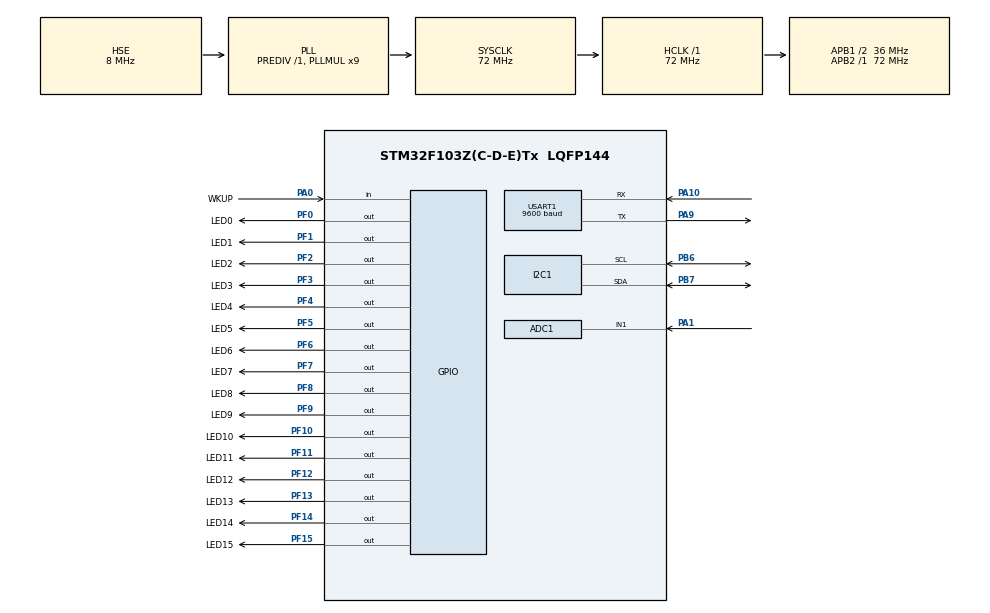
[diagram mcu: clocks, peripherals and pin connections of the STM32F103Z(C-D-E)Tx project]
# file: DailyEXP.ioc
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ADC1.Channel-0\#ChannelRegularConversion=ADC_CHANNEL_TEMPSENSOR
ADC1.Channel-1\#ChannelRegularConversion=ADC_CHANNEL_1
ADC1.ContinuousConvMode=ENABLE
ADC1.NbrOfConversion=2
ADC1.NbrOfConversionFlag=1
ADC1.Rank-0\#ChannelRegularConversion=1
ADC1.Rank-1\#ChannelRegularConversion=2
ADC1.SamplingTime-0\#ChannelRegularConversion=ADC_SAMPLETIME_71CYCLES_5
ADC1.SamplingTime-1\#ChannelRegularConversion=ADC_SAMPLETIME_71CYCLES_5
ADC1.master=1
Dma.ADC1.2.Direction=DMA_PERIPH_TO_MEMORY
Dma.ADC1.2.Instance=DMA1_Channel1
Dma.ADC1.2.MemDataAlignment=DMA_MDATAALIGN_HALFWORD
Dma.ADC1.2.MemInc=DMA_MINC_ENABLE
Dma.ADC1.2.Mode=DMA_CIRCULAR
Dma.ADC1.2.PeriphDataAlignment=DMA_PDATAALIGN_HALFWORD
Dma.ADC1.2.PeriphInc=DMA_PINC_DISABLE
Dma.ADC1.2.Priority=DMA_PRIORITY_LOW
Dma.Request0=USART1_RX
Dma.Request1=USART1_TX
Dma.Request2=ADC1
Dma.USART1_RX.0.Direction=DMA_PERIPH_TO_MEMORY
Dma.USART1_RX.0.Instance=DMA1_Channel5
Dma.USART1_RX.0.MemDataAlignment=DMA_MDATAALIGN_BYTE
Dma.USART1_RX.0.MemInc=DMA_MINC_ENABLE
Dma.USART1_RX.0.Mode=DMA_NORMAL
Dma.USART1_RX.0.PeriphDataAlignment=DMA_PDATAALIGN_BYTE
Dma.USART1_RX.0.PeriphInc=DMA_PINC_DISABLE
Dma.USART1_RX.0.Priority=DMA_PRIORITY_LOW
Dma.USART1_TX.1.Direction=DMA_MEMORY_TO_PERIPH
Dma.USART1_TX.1.Instance=DMA1_Channel4
Dma.USART1_TX.1.MemDataAlignment=DMA_MDATAALIGN_BYTE
Dma.USART1_TX.1.MemInc=DMA_MINC_ENABLE
Dma.USART1_TX.1.Mode=DMA_NORMAL
Dma.USART1_TX.1.PeriphDataAlignment=DMA_PDATAALIGN_BYTE
Dma.USART1_TX.1.PeriphInc=DMA_PINC_DISABLE
Dma.USART1_TX.1.Priority=DMA_PRIORITY_LOW
FREERTOS.Queues01=LightQueue,2,uint16_t,0,Dynamic,NULL,NULL;TempQueue,2,uint16_t,0,Dynamic,NULL,NULL;SwitchQueue,2,UartTxMsg_t,0,Dynamic,NULL,NULL;LightSwQueue,2,uint16_t,0,Dynamic,NULL,NULL
FREERTOS.Tasks01=BtnTask,40,128,StartBtnTask,Default,NULL,Dynamic,NULL,NULL;LEDTask,24,256,StartLEDTask,Default,NULL,Dynamic,NULL,NULL;UITask,24,384,StartUITask,Default,NULL,Dynamic,NULL,NULL;SettingTask,24,128,StartSettingTask,Default,NULL,Dynamic,NULL,NULL;UARTTask,32,512,StartUARTTask,Default,NULL,Dynamic,NULL,NULL;ADTask,24,512,StartADTask,Default,NULL,Dynamic,NULL,NULL;SwitchTask,24,256,StartSwitchTask,Default,NULL,Dynamic,NULL,NULL;TickTask,24,128,StartTickTask,Default,NULL,Dynamic,NULL,NULL
FREERTOS.configTOTAL_HEAP_SIZE=12800
I2C1.I2C_Mode=I2C_Fast
Mcu.Family=STM32F1
Mcu.Name=STM32F103Z(C-D-E)Tx
Mcu.Package=LQFP144
NVIC.DMA1_Channel1_IRQn=true\:5\:0\:false\:false\:true\:true\:false\:true\:true
NVIC.DMA1_Channel4_IRQn=true\:5\:0\:false\:false\:true\:true\:false\:true\:true
NVIC.DMA1_Channel5_IRQn=true\:5\:0\:false\:false\:true\:true\:false\:true\:true
NVIC.PriorityGroup=NVIC_PRIORITYGROUP_4
NVIC.TIM6_IRQn=true\:5\:0\:false\:false\:true\:true\:true\:true\:true
NVIC.TIM7_IRQn=true\:15\:0\:false\:false\:true\:false\:false\:true\:true
NVIC.TimeBase=TIM7_IRQn
NVIC.TimeBaseIP=TIM7
NVIC.USART1_IRQn=true\:5\:0\:false\:false\:true\:true\:false\:true\:true
OSC_IN.Mode=HSE-External-Oscillator
OSC_IN.Signal=RCC_OSC_IN
OSC_OUT.Mode=HSE-External-Oscillator
OSC_OUT.Signal=RCC_OSC_OUT
PA0-WKUP.GPIO_Label=WKUP
PA0-WKUP.Signal=GPIO_Input
PA1.Signal=ADCx_IN1
PA10.Mode=Asynchronous
PA10.Signal=USART1_RX
PA13.Mode=Serial_Wire
PA13.Signal=SYS_JTMS-SWDIO
PA14.Mode=Serial_Wire
PA14.Signal=SYS_JTCK-SWCLK
PA9.Mode=Asynchronous
PA9.Signal=USART1_TX
PB6.Mode=I2C
PB6.Signal=I2C1_SCL
PB7.Mode=I2C
PB7.Signal=I2C1_SDA
PF0.GPIO_Label=LED0
PF0.GPIO_ModeDefaultOutputPP=GPIO_MODE_OUTPUT_OD
PF0.GPIO_PuPd=GPIO_NOPULL
PF0.PinState=GPIO_PIN_SET
PF0.Signal=GPIO_Output
PF1.GPIO_Label=LED1
PF1.GPIO_ModeDefaultOutputPP=GPIO_MODE_OUTPUT_OD
PF1.GPIO_PuPd=GPIO_NOPULL
PF1.PinState=GPIO_PIN_SET
PF1.Signal=GPIO_Output
PF10.GPIO_Label=LED10
PF10.GPIO_ModeDefaultOutputPP=GPIO_MODE_OUTPUT_OD
PF10.GPIO_PuPd=GPIO_NOPULL
PF10.PinState=GPIO_PIN_SET
PF10.Signal=GPIO_Output
PF11.GPIO_Label=LED11
PF11.GPIO_ModeDefaultOutputPP=GPIO_MODE_OUTPUT_OD
PF11.GPIO_PuPd=GPIO_NOPULL
PF11.PinState=GPIO_PIN_SET
PF11.Signal=GPIO_Output
PF12.GPIO_Label=LED12
PF12.GPIO_ModeDefaultOutputPP=GPIO_MODE_OUTPUT_OD
PF12.GPIO_PuPd=GPIO_NOPULL
PF12.PinState=GPIO_PIN_SET
PF12.Signal=GPIO_Output
PF13.GPIO_Label=LED13
PF13.GPIO_ModeDefaultOutputPP=GPIO_MODE_OUTPUT_OD
PF13.GPIO_PuPd=GPIO_NOPULL
PF13.PinState=GPIO_PIN_SET
PF13.Signal=GPIO_Output
PF14.GPIO_Label=LED14
PF14.GPIO_ModeDefaultOutputPP=GPIO_MODE_OUTPUT_OD
PF14.GPIO_PuPd=GPIO_NOPULL
PF14.PinState=GPIO_PIN_SET
PF14.Signal=GPIO_Output
PF15.GPIO_Label=LED15
PF15.GPIO_ModeDefaultOutputPP=GPIO_MODE_OUTPUT_OD
PF15.GPIO_PuPd=GPIO_NOPULL
PF15.PinState=GPIO_PIN_SET
PF15.Signal=GPIO_Output
PF2.GPIO_Label=LED2
PF2.GPIO_ModeDefaultOutputPP=GPIO_MODE_OUTPUT_OD
PF2.GPIO_PuPd=GPIO_NOPULL
PF2.PinState=GPIO_PIN_SET
PF2.Signal=GPIO_Output
PF3.GPIO_Label=LED3
PF3.GPIO_ModeDefaultOutputPP=GPIO_MODE_OUTPUT_OD
PF3.GPIO_PuPd=GPIO_NOPULL
PF3.PinState=GPIO_PIN_SET
PF3.Signal=GPIO_Output
PF4.GPIO_Label=LED4
PF4.GPIO_ModeDefaultOutputPP=GPIO_MODE_OUTPUT_OD
PF4.GPIO_PuPd=GPIO_NOPULL
PF4.PinState=GPIO_PIN_SET
PF4.Signal=GPIO_Output
PF5.GPIO_Label=LED5
PF5.GPIO_ModeDefaultOutputPP=GPIO_MODE_OUTPUT_OD
PF5.GPIO_PuPd=GPIO_NOPULL
PF5.PinState=GPIO_PIN_SET
PF5.Signal=GPIO_Output
PF6.GPIO_Label=LED6
PF6.GPIO_ModeDefaultOutputPP=GPIO_MODE_OUTPUT_OD
PF6.GPIO_PuPd=GPIO_NOPULL
PF6.PinState=GPIO_PIN_SET
PF6.Signal=GPIO_Output
PF7.GPIO_Label=LED7
PF7.GPIO_ModeDefaultOutputPP=GPIO_MODE_OUTPUT_OD
PF7.GPIO_PuPd=GPIO_NOPULL
PF7.PinState=GPIO_PIN_SET
PF7.Signal=GPIO_Output
PF8.GPIO_Label=LED8
PF8.GPIO_ModeDefaultOutputPP=GPIO_MODE_OUTPUT_OD
PF8.GPIO_PuPd=GPIO_NOPULL
PF8.PinState=GPIO_PIN_SET
PF8.Signal=GPIO_Output
PF9.GPIO_Label=LED9
PF9.GPIO_ModeDefaultOutputPP=GPIO_MODE_OUTPUT_OD
PF9.GPIO_PuPd=GPIO_NOPULL
PF9.PinState=GPIO_PIN_SET
PF9.Signal=GPIO_Output
ProjectManager.HeapSize=0x200
ProjectManager.StackSize=0x400
ProjectManager.TargetToolchain=CMake
RCC.ADCPresc=RCC_ADCPCLK2_DIV6
RCC.AHBFreq_Value=72000000
RCC.APB1CLKDivider=RCC_HCLK_DIV2
RCC.APB1Freq_Value=36000000
RCC.APB1TimFreq_Value=72000000
RCC.APB2Freq_Value=72000000
RCC.APB2TimFreq_Value=72000000
RCC.HCLKFreq_Value=72000000
RCC.PLLMUL=RCC_PLL_MUL9
RCC.PLLSourceVirtual=RCC_PLLSOURCE_HSE
RCC.SYSCLKFreq_VALUE=72000000
RCC.SYSCLKSource=RCC_SYSCLKSOURCE_PLLCLK
RCC.USBFreq_Value=72000000
SH.ADCx_IN1.0=ADC1_IN1,IN1
TIM6.AutoReloadPreload=TIM_AUTORELOAD_PRELOAD_ENABLE
TIM6.Period=9999
TIM6.Prescaler=719
USART1.BaudRate=9600
USART1.VirtualMode=VM_ASYNC
VP_ADC1_TempSens_Input.Mode=IN-TempSens
VP_FREERTOS_VS_CMSIS_V2.Mode=CMSIS_V2
VP_SYS_VS_tim7.Mode=TIM7
VP_TIM6_VS_ClockSourceINT.Mode=Enable_Timer
board=custom

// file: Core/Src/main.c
/* USER CODE BEGIN Header */
/**
 ******************************************************************************
 * @file           : main.c
 * @brief          : Main program body
 ******************************************************************************
 * @attention
 *
 * Copyright (c) 2026 STMicroelectronics.
 * All rights reserved.
 *
 * This software is licensed under terms that can be found in the LICENSE file
 * in the root directory of this software component.
 * If no LICENSE file comes with this software, it is provided AS-IS.
 *
 ******************************************************************************
 */
/* USER CODE END Header */
#include "main.h"
#include "cmsis_os.h"
#include "adc.h"
#include "dma.h"
#include "i2c.h"
#include "tim.h"
#include "usart.h"
#include "gpio.h"

/* USER CODE BEGIN Includes */
#include "btn.h"
/* USER CODE END Includes */

/* USER CODE BEGIN PV */
uint8_t led_flow_counter = 0;    // 流水灯计数器，范围0-15，根据实验状态循环递增
uint16_t TimerBinaryCounter = 0; // 定时器二进制计数器，范围0-65535，每次定时器中断递增
uint16_t tickCounter = 0;        // 滴答定时器计数值
volatile uint16_t
  adcValue[2]; // 存放ADC值，adcValue[0]为温度传感器的采样值，adcValue[1]为光敏传感器的采样值

/* USER CODE END PV */

void SystemClock_Config(void);
void MX_FREERTOS_Init(void);

/* USER CODE BEGIN 0 */
EXP_STATE expState = EXP1;
MODE mode = NORMAL_MODE;
DISPLAY_TYPE DisplayType = DISPLAY_COUNT;
/* USER CODE END 0 */

int main(void)
{

  /* MCU Configuration--------------------------------------------------------*/

  /* Reset of all peripherals, Initializes the Flash interface and the Systick. */
  HAL_Init();

  /* Configure the system clock */
  SystemClock_Config();

  /* Initialize all configured peripherals */
  MX_GPIO_Init();
  MX_DMA_Init();
  MX_I2C1_Init();
  MX_TIM6_Init();
  MX_USART1_UART_Init();
  MX_ADC1_Init();
  /* USER CODE BEGIN 2 */
    Btn_Init();

    // 启动定时器6，产生周期性中断用于流水灯硬件延时
    HAL_TIM_Base_Start_IT(&htim6);

    // 启动ADC DMA，连续采集光敏传感器和温度传感器的模拟值
    HAL_ADC_Start_DMA(&hadc1, (uint32_t *)adcValue, 2);

  /* USER CODE END 2 */

  /* Init scheduler */
  osKernelInitialize();  /* Call init function for freertos objects (in cmsis_os2.c) */
  MX_FREERTOS_Init();

  /* Start scheduler */
  osKernelStart();

  /* We should never get here as control is now taken by the scheduler */

  /* Infinite loop */
    while(1)
    {

    }
}

void SystemClock_Config(void)
{
  RCC_OscInitTypeDef RCC_OscInitStruct = {0};
  RCC_ClkInitTypeDef RCC_ClkInitStruct = {0};
  RCC_PeriphCLKInitTypeDef PeriphClkInit = {0};

  /** Initializes the RCC Oscillators according to the specified parameters
  * in the RCC_OscInitTypeDef structure.
  */
  RCC_OscInitStruct.OscillatorType = RCC_OSCILLATORTYPE_HSE;
  RCC_OscInitStruct.HSEState = RCC_HSE_ON;
  RCC_OscInitStruct.HSEPredivValue = RCC_HSE_PREDIV_DIV1;
  RCC_OscInitStruct.HSIState = RCC_HSI_ON;
  RCC_OscInitStruct.PLL.PLLState = RCC_PLL_ON;
  RCC_OscInitStruct.PLL.PLLSource = RCC_PLLSOURCE_HSE;
  RCC_OscInitStruct.PLL.PLLMUL = RCC_PLL_MUL9;
  if (HAL_RCC_OscConfig(&RCC_OscInitStruct) != HAL_OK)
  {
    Error_Handler();
  }

  /** Initializes the CPU, AHB and APB buses clocks
  */
  RCC_ClkInitStruct.ClockType = RCC_CLOCKTYPE_HCLK|RCC_CLOCKTYPE_SYSCLK
                              |RCC_CLOCKTYPE_PCLK1|RCC_CLOCKTYPE_PCLK2;
  RCC_ClkInitStruct.SYSCLKSource = RCC_SYSCLKSOURCE_PLLCLK;
  RCC_ClkInitStruct.AHBCLKDivider = RCC_SYSCLK_DIV1;
  RCC_ClkInitStruct.APB1CLKDivider = RCC_HCLK_DIV2;
  RCC_ClkInitStruct.APB2CLKDivider = RCC_HCLK_DIV1;

  if (HAL_RCC_ClockConfig(&RCC_ClkInitStruct, FLASH_LATENCY_2) != HAL_OK)
  {
    Error_Handler();
  }
  PeriphClkInit.PeriphClockSelection = RCC_PERIPHCLK_ADC;
  PeriphClkInit.AdcClockSelection = RCC_ADCPCLK2_DIV6;
  if (HAL_RCCEx_PeriphCLKConfig(&PeriphClkInit) != HAL_OK)
  {
    Error_Handler();
  }
}

void HAL_TIM_PeriodElapsedCallback(TIM_HandleTypeDef *htim)
{
  /* USER CODE BEGIN Callback 0 */
    // 定时器6中断回调函数，用于流水灯硬件延时
    if(htim->Instance == TIM6)
    {
        if(mode == NORMAL_MODE && expState == EXP2)
        {
            led_flow_counter = (led_flow_counter + 1) % 16; // 循环递增，范围0-15
        }
        if(mode == NORMAL_MODE && (expState == EXP4 || expState == EXP5 || expState == EXP8))
        {
            TimerBinaryCounter++; // 定时器二进制计数器递增
        }
    }
  /* USER CODE END Callback 0 */
  if (htim->Instance == TIM7)
  {
    HAL_IncTick();
  }
}

void Error_Handler(void)
{
    __disable_irq();
    while(1)
    {
    }
}

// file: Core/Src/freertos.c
/* USER CODE BEGIN Header */
/**
 ******************************************************************************
 * File Name          : freertos.c
 * Description        : Code for freertos applications
 ******************************************************************************
 * @attention
 *
 * Copyright (c) 2026 STMicroelectronics.
 * All rights reserved.
 *
 * This software is licensed under terms that can be found in the LICENSE file
 * in the root directory of this software component.
 * If no LICENSE file comes with this software, it is provided AS-IS.
 *
 ******************************************************************************
 */
/* USER CODE END Header */

#include "FreeRTOS.h"
#include "task.h"
#include "main.h"
#include "cmsis_os.h"

/* USER CODE BEGIN Includes */
#include "btn.h"
#include "display_msg.h"
#include "led.h"
#include "oled.h"
#include "usart.h"
#include <stdint.h>
#include <stdio.h>
#include <string.h>
#include <sys/_intsup.h>

/* USER CODE END Includes */

/* USER CODE BEGIN PD */
#define BTN_DEBOUNCE_DELAY 40    // 消抖延时，单位为ms
#define BTN_LONG_PRESS_DELAY 500 // 长按判定时间，单位为ms
/* USER CODE END PD */

/* Definitions for BtnTask */
osThreadId_t BtnTaskHandle;
const osThreadAttr_t BtnTask_attributes = {
  .name = "BtnTask",
  .stack_size = 128 * 4,
  .priority = (osPriority_t) osPriorityHigh,
};
/* Definitions for LEDTask */
osThreadId_t LEDTaskHandle;
const osThreadAttr_t LEDTask_attributes = {
  .name = "LEDTask",
  .stack_size = 256 * 4,
  .priority = (osPriority_t) osPriorityNormal,
};
/* Definitions for UITask */
osThreadId_t UITaskHandle;
const osThreadAttr_t UITask_attributes = {
  .name = "UITask",
  .stack_size = 384 * 4,
  .priority = (osPriority_t) osPriorityNormal,
};
/* Definitions for SettingTask */
osThreadId_t SettingTaskHandle;
const osThreadAttr_t SettingTask_attributes = {
  .name = "SettingTask",
  .stack_size = 128 * 4,
  .priority = (osPriority_t) osPriorityNormal,
};
/* Definitions for UARTTask */
osThreadId_t UARTTaskHandle;
const osThreadAttr_t UARTTask_attributes = {
  .name = "UARTTask",
  .stack_size = 512 * 4,
  .priority = (osPriority_t) osPriorityAboveNormal,
};
/* Definitions for ADTask */
osThreadId_t ADTaskHandle;
const osThreadAttr_t ADTask_attributes = {
  .name = "ADTask",
  .stack_size = 512 * 4,
  .priority = (osPriority_t) osPriorityNormal,
};
/* Definitions for SwitchTask */
osThreadId_t SwitchTaskHandle;
const osThreadAttr_t SwitchTask_attributes = {
  .name = "SwitchTask",
  .stack_size = 256 * 4,
  .priority = (osPriority_t) osPriorityNormal,
};
/* Definitions for TickTask */
osThreadId_t TickTaskHandle;
const osThreadAttr_t TickTask_attributes = {
  .name = "TickTask",
  .stack_size = 128 * 4,
  .priority = (osPriority_t) osPriorityNormal,
};
/* Definitions for LightQueue */
osMessageQueueId_t LightQueueHandle;
const osMessageQueueAttr_t LightQueue_attributes = {
  .name = "LightQueue"
};
/* Definitions for TempQueue */
osMessageQueueId_t TempQueueHandle;
const osMessageQueueAttr_t TempQueue_attributes = {
  .name = "TempQueue"
};
/* Definitions for SwitchQueue */
osMessageQueueId_t SwitchQueueHandle;
const osMessageQueueAttr_t SwitchQueue_attributes = {
  .name = "SwitchQueue"
};
/* Definitions for LightSwQueue */
osMessageQueueId_t LightSwQueueHandle;
const osMessageQueueAttr_t LightSwQueue_attributes = {
  .name = "LightSwQueue"
};

void StartBtnTask(void *argument);
void StartLEDTask(void *argument);
void StartUITask(void *argument);
void StartSettingTask(void *argument);
void StartUARTTask(void *argument);
void StartADTask(void *argument);
void StartSwitchTask(void *argument);
void StartTickTask(void *argument);

void MX_FREERTOS_Init(void); /* (MISRA C 2004 rule 8.1) */

void MX_FREERTOS_Init(void) {

  /* Create the queue(s) */
  /* creation of LightQueue */
  LightQueueHandle = osMessageQueueNew (2, sizeof(uint16_t), &LightQueue_attributes);

  /* creation of TempQueue */
  TempQueueHandle = osMessageQueueNew (2, sizeof(uint16_t), &TempQueue_attributes);

  /* creation of SwitchQueue */
  SwitchQueueHandle = osMessageQueueNew (2, sizeof(UartTxMsg_t), &SwitchQueue_attributes);

  /* creation of LightSwQueue */
  LightSwQueueHandle = osMessageQueueNew (2, sizeof(uint16_t), &LightSwQueue_attributes);

  /* Create the thread(s) */
  /* creation of BtnTask */
  BtnTaskHandle = osThreadNew(StartBtnTask, NULL, &BtnTask_attributes);

  /* creation of LEDTask */
  LEDTaskHandle = osThreadNew(StartLEDTask, NULL, &LEDTask_attributes);

  /* creation of UITask */
  UITaskHandle = osThreadNew(StartUITask, NULL, &UITask_attributes);

  /* creation of SettingTask */
  SettingTaskHandle = osThreadNew(StartSettingTask, NULL, &SettingTask_attributes);

  /* creation of UARTTask */
  UARTTaskHandle = osThreadNew(StartUARTTask, NULL, &UARTTask_attributes);

  /* creation of ADTask */
  ADTaskHandle = osThreadNew(StartADTask, NULL, &ADTask_attributes);

  /* creation of SwitchTask */
  SwitchTaskHandle = osThreadNew(StartSwitchTask, NULL, &SwitchTask_attributes);

  /* creation of TickTask */
  TickTaskHandle = osThreadNew(StartTickTask, NULL, &TickTask_attributes);

}

void StartBtnTask(void *argument)
{
  /* USER CODE BEGIN StartBtnTask */

    uint32_t btnPressCounter; // 按键按下计数器
    uint8_t debounceCounter;  // 消抖计数器s

    /* Infinite loop */
    for(;;)
    {
        // 读取按键状态
        uint8_t btnPressed = HAL_GPIO_ReadPin(WKUP_GPIO_Port, WKUP_Pin) == GPIO_PIN_RESET;
        switch(btnState)
        {
            case BTN_STATE_IDLE:
                if(btnPressed)
                {
                    btnState = BTN_STATE_DEBOUNCE;
                    debounceCounter = 0;
                }
                break;

            case BTN_STATE_DEBOUNCE:
                if(btnPressed)
                {
                    debounceCounter++;
                    if(debounceCounter >= BTN_DEBOUNCE_DELAY / 20)
                    { // 每20ms检查一次
                        btnState = BTN_STATE_PRESSED;
                        btnPressCounter = 0;
                    }
                }
                else
                {
                    btnState = BTN_STATE_IDLE; // 按键抖动，回到空闲状态
                }
                break;

            case BTN_STATE_PRESSED:
                if(btnPressed)
                {
                    btnPressCounter++;
                    if(btnPressCounter >= BTN_LONG_PRESS_DELAY / 20)
                    {
                        btnEvent = BTN_EVENT_LONG_PRESS;   // 长按事件
                        btnState = BTN_STATE_WAIT_RELEASE; // 等待释放
                    }
                }
                else
                {
                    btnEvent = BTN_EVENT_CLICK; // 点击事件
                    btnState = BTN_STATE_IDLE;  // 回到空闲状态
                }
                break;

            case BTN_STATE_WAIT_RELEASE:
                if(!btnPressed)
                {
                    btnState = BTN_STATE_IDLE; // 按键释放，回到空闲状态
                }
                break;
        }
        osDelay(20);
    }
  /* USER CODE END StartBtnTask */
}

void StartLEDTask(void *argument)
{
  /* USER CODE BEGIN StartLEDTask */
    /* Infinite loop */
    for(;;)
    {
        // 实验一，软件流水灯
        if(mode == NORMAL_MODE && expState == EXP1)
        {
            LED_Flow(led_flow_counter % 16);
            led_flow_counter++;

            // 软件延时
            for(volatile uint32_t i = 0; i < 500000; i++)
                ;
        }
        else if(mode == NORMAL_MODE && expState == EXP2)
        // 实验二，定时器流水灯，流水灯由定时器中断控制，主循环中无需执行点亮函数，只需根据计数器更新LED状态
        {
            LED_Flow(led_flow_counter);
        }
        else if(expState == EXP3) // 实验三，按键加法器，结果以二进制形式显示在LED上
        {
            static uint16_t BtnBinaryCounter = 0;
            if(mode == NORMAL_MODE)
            {
                LED_Binary_Display(BtnBinaryCounter);
                // 按键实现二进制计数器加1
                if(btnEvent == BTN_EVENT_CLICK)
                {
                    BtnBinaryCounter++;
                    btnEvent = BTN_EVENT_NONE; // 清除事件
                }
            }
            else
            {
                // 清空计数器
                BtnBinaryCounter = 0;
            }
        }
        else if(expState == EXP4) // 实验四，定时器半秒计数，结果以二进制形式显示在LED上
        {
            if(mode == NORMAL_MODE)
            {
                LED_Binary_Display(TimerBinaryCounter /
                                   5); // 定时器每100ms产生一次中断，计数值除以5实现半秒计数
            }
            else
            {
                // 清空计数器
                TimerBinaryCounter = 0;
            }
        }

        // 进入设置模式时，关闭所有LED，准备下一次实验
        if(mode == SETTING_MODE)
        {
            LED_Turn_off_All();
        }

        osDelay(10);
    }
  /* USER CODE END StartLEDTask */
}

void StartUITask(void *argument)
{
  /* USER CODE BEGIN StartUITask */
    // 初始化OLED显示
    osDelay(20);
    OLED_Init();

    // 光标闪烁计数
    uint8_t cursorBlinkCounter = 0;

    // 开屏图片显示3秒
    OLED_NewFrame();
    OLED_DrawImage(38, 8, &bilibiliImg, OLED_COLOR_NORMAL);
    OLED_ShowFrame();
    osDelay(2000);

    /* Infinite loop */
    for(;;)
    {
        // 显示
        OLED_NewFrame();

        char str_exp[16];
        snprintf(str_exp, sizeof(str_exp), "Exp: %2d", expState + 1);

        OLED_PrintASCIIString(0, 0, str_exp, &afont16x8, OLED_COLOR_NORMAL);

        // 若处于设置模式，则显示闪烁的光标
        if(mode == SETTING_MODE)
        {
            cursorBlinkCounter = (cursorBlinkCounter + 1) % 8; // 每8次循环切换一次状态
            if(cursorBlinkCounter < 4)
            {
                OLED_DrawLine(0, 18, 56, 18, OLED_COLOR_NORMAL); // 绘制光标
            }
        }
        else
        {
            cursorBlinkCounter =
              0; // 非设置模式时重置计数器，确保进入设置模式时光标从可见状态开始闪烁
        }

        // 若当前实验需要切换显示，则根据实验状态显示对应信息
        if(mode == NORMAL_MODE && (expState >= EXP8 && expState <= EXP10))
        {
            // 显示串口发送类型
            char str_uart[16];
            char str_count_light[8];
            if(DisplayType == DISPLAY_COUNT)
            {
                if(expState == EXP8 || expState == EXP10)
                {
                    snprintf(str_uart, sizeof(str_uart), "HostDisplay:");
                    OLED_PrintASCIIString(0, 26, str_uart, &afont16x8, OLED_COLOR_NORMAL);
                    snprintf(str_count_light, sizeof(str_count_light), "Count");
                    OLED_PrintASCIIString(0, 42, str_count_light, &afont16x8, OLED_COLOR_NORMAL);
                }
                else if(expState == EXP9)
                {
                    // 实验九为LED和上位机切换显示计数值
                    snprintf(str_uart, sizeof(str_uart), "LedDisplay:");
                    OLED_PrintASCIIString(0, 26, str_uart, &afont16x8, OLED_COLOR_NORMAL);
                    snprintf(str_count_light, sizeof(str_count_light), "Count");
                    OLED_PrintASCIIString(0, 42, str_count_light, &afont16x8, OLED_COLOR_NORMAL);
                }
            }
            else if(DisplayType == DISPLAY_LIGHT)
            {
                if(expState == EXP10)
                {
                    snprintf(str_uart, sizeof(str_uart), "HostDisplay:");
                    OLED_PrintASCIIString(0, 26, str_uart, &afont16x8, OLED_COLOR_NORMAL);
                    snprintf(str_count_light, sizeof(str_count_light), "Light");
                    OLED_PrintASCIIString(0, 42, str_count_light, &afont16x8, OLED_COLOR_NORMAL);
                }
                else if(expState == EXP8)
                {
                    // 实验八为LED和上位机切换显示计数值，此处借用DISPLAY_LIGHT状态
                    snprintf(str_uart, sizeof(str_uart), "LedDisplay:");
                    OLED_PrintASCIIString(0, 26, str_uart, &afont16x8, OLED_COLOR_NORMAL);
                    snprintf(str_count_light, sizeof(str_count_light), "Count");
                    OLED_PrintASCIIString(0, 42, str_count_light, &afont16x8, OLED_COLOR_NORMAL);
                }
                else if(expState == EXP9)
                {
                    // 实验九为LED和上位机切换显示计数值
                    snprintf(str_uart, sizeof(str_uart), "LedDisplay:");
                    OLED_PrintASCIIString(0, 26, str_uart, &afont16x8, OLED_COLOR_NORMAL);
                    snprintf(str_count_light, sizeof(str_count_light), "Light");
                    OLED_PrintASCIIString(0, 42, str_count_light, &afont16x8, OLED_COLOR_NORMAL);
                }
            }
        }
        else if(mode == NORMAL_MODE && (expState >= EXP1 && expState <= EXP4))
        {
            char str_led[16];
            snprintf(str_led, sizeof(str_led), "LedDisplay");
            OLED_PrintASCIIString(0, 26, str_led, &afont16x8, OLED_COLOR_NORMAL);
        }
        else if(mode == NORMAL_MODE && (expState >= EXP5 && expState <= EXP7))
        {
            char str_uart[16];
            snprintf(str_uart, sizeof(str_uart), "HostDisplay");
            OLED_PrintASCIIString(0, 26, str_uart, &afont16x8, OLED_COLOR_NORMAL);
        }
        else if(mode == NORMAL_MODE && expState == EXP11)
        {
            char str_both[16];
            snprintf(str_both, sizeof(str_both), "BothDisplay");
            OLED_PrintASCIIString(0, 26, str_both, &afont16x8, OLED_COLOR_NORMAL);
        }

        OLED_ShowFrame();

        osDelay(100);
    }
  /* USER CODE END StartUITask */
}

void StartSettingTask(void *argument)
{
  /* USER CODE BEGIN StartSettingTask */
    /* Infinite loop */
    for(;;)
    {
        // 根据按键事件切换实验状态，点击切换到下一个实验，长按进入设置模式
        if(btnEvent == BTN_EVENT_CLICK && mode == SETTING_MODE)
        {
            expState = (expState + 1) % 11; // 循环切换实验状态
            btnEvent = BTN_EVENT_NONE;      // 清除事件
        }
        else if(btnEvent == BTN_EVENT_LONG_PRESS)
        {
            mode = (mode == NORMAL_MODE) ? SETTING_MODE : NORMAL_MODE; // 切换模式
            btnEvent = BTN_EVENT_NONE;                                 // 清除事件
        }
        else
        {
            // 正常模式下根据实验状态执行对应功能，若当前实验不需要按键操作，则清除按键事件，避免干扰其他实验
            if(mode == NORMAL_MODE)
            {
                switch(expState)
                {
                    case EXP1:
                        // 实验1功能
                        btnEvent = BTN_EVENT_NONE;
                        break;
                    case EXP2:
                        // 实验2功能
                        btnEvent = BTN_EVENT_NONE;
                        break;
                    case EXP3:
                        // 实验3功能
                        break;
                    case EXP4:
                        // 实验4功能
                        btnEvent = BTN_EVENT_NONE;
                        break;
                    case EXP5:
                        // 实验5功能
                        btnEvent = BTN_EVENT_NONE;
                        break;
                    case EXP6:
                        // 实验6功能
                        btnEvent = BTN_EVENT_NONE;
                        break;
                    case EXP7:
                        // 实验7功能
                        btnEvent = BTN_EVENT_NONE;
                        break;
                    case EXP8:
                        // 实验8功能
                        break;
                    case EXP9:
                        // 实验9功能
                        break;
                    case EXP10:
                        // 实验10功能
                        break;
                    case EXP11:
                        // 实验11功能
                        btnEvent = BTN_EVENT_NONE;
                        break;
                }
            }
        }
        osDelay(10);
    }
  /* USER CODE END StartSettingTask */
}

void StartUARTTask(void *argument)
{
  /* USER CODE BEGIN StartUARTTask */
    char countBuffer[16];        // 计数值字符串缓冲区
    char lightBuffer[16];        // 光照平均值字符串缓冲区
    uint16_t lightFilteredValue; // 从消息队列LightQueue接收光照平均值
    char tempBuffer[16];         // 温度滤波值字符串缓冲区
    uint16_t tempFilteredValue;  // 从消息队列TempQueue接收温度平均值
    uint16_t currentCounter = 0; // 定时器当前计数值，用于判断是否需要发送更新

    UartTxMsg_t switchMsg; // 从消息队列SwitchQueue接收的消息结构体
    /* Infinite loop */
    for(;;)
    {
        if(expState == EXP5) // 实验五，定时器半秒计数，通过UART发送计数值
        {
            if(mode == NORMAL_MODE)
            {
                // 只有当计数值发生变化时才发送，避免重复发送相同的值
                if(TimerBinaryCounter / 5 != currentCounter)
                {
                    currentCounter = TimerBinaryCounter / 5;
                    snprintf(countBuffer, sizeof(countBuffer), "Count: %d", TimerBinaryCounter / 5);

                    if(HAL_UART_GetState(&huart1) == HAL_UART_STATE_READY)
                    {
                        HAL_UART_Transmit_DMA(&huart1, (uint8_t *)countBuffer, strlen(countBuffer));
                    }
                }
            }
            else
            {
                // 设置模式下清空计数值，准备下一次实验
                TimerBinaryCounter = 0;
                currentCounter = 0;
            }
        }

        // 实验六，UART接收光照平均值，计算电压并通过UART发送
        // 接收消息队列中的光照平均值，无需等待，如果没有新数据则继续循环
        if(osMessageQueueGet(LightQueueHandle, &lightFilteredValue, 0, 0) == osOK)
        {
            // 将12位ADC值转换为电压值并发送
            snprintf(
              lightBuffer, sizeof(lightBuffer), "Light: %3.2fV", lightFilteredValue * 3.3 / 4095);

            if(HAL_UART_GetState(&huart1) == HAL_UART_STATE_READY)
            {
                HAL_UART_Transmit_DMA(&huart1, (uint8_t *)lightBuffer, strlen(lightBuffer));
                osDelay(500); // 发送后短暂延时，避免发送过快导致数据混乱
            }
        }

        // 实验七，UART接收温度滤波值，计算电压并通过UART发送
        // 接收消息队列中的温度滤波值，无需等待，如果没有新数据则继续循环
        if(osMessageQueueGet(TempQueueHandle, &tempFilteredValue, 0, 0) == osOK)
        {
            // 计算电压并发送
            snprintf(
              tempBuffer, sizeof(tempBuffer), "Temp: %3.2fV", tempFilteredValue * 3.3 / 4095);
            if(HAL_UART_GetState(&huart1) == HAL_UART_STATE_READY)
            {
                HAL_UART_Transmit_DMA(&huart1, (uint8_t *)tempBuffer, strlen(tempBuffer));
                osDelay(500); // 发送后短暂延时，避免发送过快导致数据混乱
            }
        }

        // 实验八，UART接收计数值，通过UART发送
        if(osMessageQueueGet(SwitchQueueHandle, &switchMsg, 0, 0) == osOK)
        {
            if(DisplayType == DISPLAY_COUNT)
            {
                snprintf(countBuffer, sizeof(countBuffer), "Count: %d", switchMsg.countValue);
                if(HAL_UART_GetState(&huart1) == HAL_UART_STATE_READY)
                {
                    HAL_UART_Transmit_DMA(&huart1, (uint8_t *)countBuffer, strlen(countBuffer));
                }
            }
            else if(DisplayType == DISPLAY_LIGHT)
            {
                snprintf(lightBuffer,
                         sizeof(lightBuffer),
                         "Light: %3.2fV",
                         switchMsg.lightValue * 3.3 / 4095);
                if(HAL_UART_GetState(&huart1) == HAL_UART_STATE_READY)
                {
                    HAL_UART_Transmit_DMA(&huart1, (uint8_t *)lightBuffer, strlen(lightBuffer));
                }
            }
        }

        osDelay(50);
    }
  /* USER CODE END StartUARTTask */
}

void StartADTask(void *argument)
{
  /* USER CODE BEGIN StartADTask */
    uint16_t lightValue[10];       // 存储光敏传感器10次的采样值
    uint16_t lightValueSorted[10]; // 存储排序后的光敏传感器采样值
    uint32_t lightSum = 0;         // 光敏传感器采样值的累加和，用于计算平均值
    uint16_t lightFilteredValue;   // 光敏传感器滤波后的值
    uint16_t tempValue[10];        // 存储温度传感器10次的采样值
    uint16_t tempValueSorted[10];  // 存储排序后的温度传感器采样值
    uint32_t tempSum = 0;          // 温度传感器采样值的累加和，用于计算平均值
    uint16_t tempFilteredValue;    // 温度传感器滤波后的值

    /* Infinite loop */
    for(;;)
    {
        if(expState == EXP6 || expState == EXP9 || expState == EXP10 || expState == EXP11)
        // 实验六，ADC采集光敏传感器的模拟值，转换结果采用二级数字滤波法（10次采样的结果排序、取中间的6个数的平均值），并将滤波后的转换结果通过消息队列发送给UARTTask
        {
            if(mode == NORMAL_MODE)
            {
                // 采集值已经通过DMA存储在adcValue数组中，adcValue[1]为光敏传感器的采样值，adcValue[0]为温度传感器的采样值

                // 将之前的采样值向后移动
                memmove(&lightValue[1], &lightValue[0], sizeof(uint16_t) * 9);

                // 将采样值放入lightValue数组的第一个位置
                lightValue[0] = adcValue[1];

                // 将采样值放入lightValueSorted数组，准备排序
                memcpy(lightValueSorted, lightValue, sizeof(lightValue));

                // 冒泡排序
                for(int i = 0; i < 9; i++)
                {
                    for(int j = 0; j < 9 - i; j++)
                    {
                        if(lightValueSorted[j] > lightValueSorted[j + 1])
                        {
                            uint16_t temp = lightValueSorted[j];
                            lightValueSorted[j] = lightValueSorted[j + 1];
                            lightValueSorted[j + 1] = temp;
                        }
                    }
                }

                // 取排序后中间的6个数的平均值，并通过消息队列发送给UARTTask
                lightSum = 0;
                for(int i = 2; i < 8; i++)
                {
                    lightSum += lightValueSorted[i];
                }

                lightFilteredValue = lightSum / 6; // 计算平均值
                if(expState == EXP6)
                {
                    // 发送平均值到LightQueue
                    osMessageQueuePut(LightQueueHandle, &lightFilteredValue, 0, 0);
                }
                else if(expState == EXP9 || expState == EXP10 || expState == EXP11)
                {
                    // 发送平均值到LightSwQueue
                    osMessageQueuePut(LightSwQueueHandle, &lightFilteredValue, 0, 0);
                }
            }
            else
            {
                // 实验六设置模式，清空采样值、累加和和消息队列，准备下一次实验
                memset(lightValue, 0, sizeof(lightValue));
                memset(lightValueSorted, 0, sizeof(lightValueSorted));
                osMessageQueueReset(LightQueueHandle);
            }
        }

        if(expState == EXP7)
        // 实验七，ADC采集温度传感器的模拟值，将滤波后的转换结果通过消息队列发送给UARTTask
        {
            if(mode == NORMAL_MODE)
            {
                // 处理温度传感器的采样值，方法同光敏传感器
                memmove(&tempValue[1], &tempValue[0], sizeof(uint16_t) * 9);
                tempValue[0] = adcValue[0];
                memcpy(tempValueSorted, tempValue, sizeof(tempValue));
                for(int i = 0; i < 9; i++)
                {
                    for(int j = 0; j < 9 - i; j++)
                    {
                        if(tempValueSorted[j] > tempValueSorted[j + 1])
                        {
                            uint16_t temp = tempValueSorted[j];
                            tempValueSorted[j] = tempValueSorted[j + 1];
                            tempValueSorted[j + 1] = temp;
                        }
                    }
                }
                tempSum = 0;
                for(int i = 2; i < 8; i++)
                {
                    tempSum += tempValueSorted[i];
                }
                tempFilteredValue = tempSum / 6;
                osMessageQueuePut(TempQueueHandle, &tempFilteredValue, 0, 0);
            }
            else
            {
                memset(tempValue, 0, sizeof(tempValue));
                memset(tempValueSorted, 0, sizeof(tempValueSorted));
                osMessageQueueReset(TempQueueHandle);
            }
        }

        osDelay(100);
    }
  /* USER CODE END StartADTask */
}

void StartSwitchTask(void *argument)
{
  /* USER CODE BEGIN StartSwitchTask */
    UartTxMsg_t uartTxMsg;       // UART发送消息结构体
    uint16_t currentCounter = 0; // 定时器当前计数值，用于判断是否需要发送更新
    uint16_t lightSwValue;       // 从消息队列LightSwQueue接收的光照平均值

    /* Infinite loop */
    for(;;)
    {
        if(expState == EXP8)
        // 实验八，用定时器实现秒计数，通过按键在LED和上位机上切换显示计数值
        {
            if(mode == NORMAL_MODE)
            {
                // 按键切换显示内容，LED显示计数值的二进制形式，上位机通过UART显示计数值的十进制形式
                if(btnEvent == BTN_EVENT_CLICK)
                {
                    DisplayType = (DisplayType == DISPLAY_COUNT) ? DISPLAY_LIGHT
                                                                 : DISPLAY_COUNT; // 切换显示类型
                    btnEvent = BTN_EVENT_NONE;                                    // 清除事件
                }

                if(DisplayType == DISPLAY_COUNT)
                {
                    // 关闭LED显示
                    LED_Turn_off_All();

                    if(TimerBinaryCounter / 10 != currentCounter)
                    {
                        currentCounter = TimerBinaryCounter / 10;

                        // 定时器每100ms产生一次中断，计数值除以10实现秒计数
                        uartTxMsg.countValue = TimerBinaryCounter / 10;
                        uartTxMsg.lightValue = 0; // 光照值不使用

                        // 发送消息到SwitchQueue
                        osMessageQueuePut(SwitchQueueHandle, &uartTxMsg, 0, 0);
                    }
                }
                else
                {
                    // LED显示计数值的二进制形式
                    LED_Binary_Display(TimerBinaryCounter / 10);
                }
            }
            else
            {
                // 设置模式下清空计数值，准备下一次实验
                TimerBinaryCounter = 0;
                currentCounter = 0;
            }
        }

        if(expState == EXP9 || expState == EXP10)
        // 实验九，用滴答定时器实现半秒计数，通过按键在LED上切换显示计数值和光照转换值
        // 实验十，用滴答定时器实现半秒计数，通过按键在上位机上切换显示计数值和光照转换值
        {
            if(mode == NORMAL_MODE)
            {
                // 从消息队列LightSwQueue接收光照平均值
                osMessageQueueGet(LightSwQueueHandle, &lightSwValue, 0, 0);

                if(btnEvent == BTN_EVENT_CLICK)
                {
                    DisplayType = (DisplayType == DISPLAY_COUNT) ? DISPLAY_LIGHT
                                                                 : DISPLAY_COUNT; // 切换显示类型
                    btnEvent = BTN_EVENT_NONE;                                    // 清除事件
                }
                if(expState == EXP9)
                {
                    if(DisplayType == DISPLAY_COUNT)
                    {
                        // LED显示半秒计数的二进制形式
                        LED_Binary_Display(tickCounter);
                    }

                    else
                    {
                        // LED显示光照转换值的二进制形式
                        LED_Binary_Display(lightSwValue);
                    }
                }
                else if(expState == EXP10)
                {
                    // 上位机通过UART显示半秒计数值
                    uartTxMsg.countValue = tickCounter;
                    // 上位机通过UART显示光照转换值
                    uartTxMsg.lightValue = lightSwValue;

                    osMessageQueuePut(SwitchQueueHandle, &uartTxMsg, 0, 0);
                }
            }
            else
            {
                // 清除消息队列和计数值，准备下一次实验
                osMessageQueueReset(LightSwQueueHandle);

                tickCounter = 0;
            }
        }

        osDelay(500);
    }
  /* USER CODE END StartSwitchTask */
}

void StartTickTask(void *argument)
{
  /* USER CODE BEGIN StartTickTask */
    UartTxMsg_t uartTxMsg; // UART发送消息结构体
    uint16_t lightSwValue; // 从消息队列LightSwQueue接收的光照平均值
    /* Infinite loop */
    for(;;)
    {
        // 滴答定时器实现半秒计数
        if(expState == EXP9 || expState == EXP10 || expState == EXP11)
        {
            if(mode == NORMAL_MODE)
            {
                tickCounter++; // 每次滴答定时器中断递增计数值
            }
            else
            {
                // 设置模式下清空计数值，准备下一次实验
                tickCounter = 0;
            }
        }

        if(expState == EXP11)
        // 实验十一，任务一：用滴答定时器实现半秒计数，结果在上位机显示；任务二：将光照转换值显示在LED上
        {
            if(mode == NORMAL_MODE)
            {
                // 将显示模式设置为计数
                DisplayType = DISPLAY_COUNT;

                uartTxMsg.countValue = tickCounter;
                uartTxMsg.lightValue = 0; // 光照值不使用

                // 此处借用Switch任务的消息队列发送计数值
                osMessageQueuePut(SwitchQueueHandle, &uartTxMsg, 0, 0);

                osMessageQueueGet(LightSwQueueHandle, &lightSwValue, 0, 0);
                LED_Binary_Display(lightSwValue);
            }
            else
            {
                // 设置模式下清空计数值，准备下一次实验
                tickCounter = 0;
                osMessageQueueReset(LightSwQueueHandle);
            }
        }
        osDelay(500);
    }
  /* USER CODE END StartTickTask */
}
